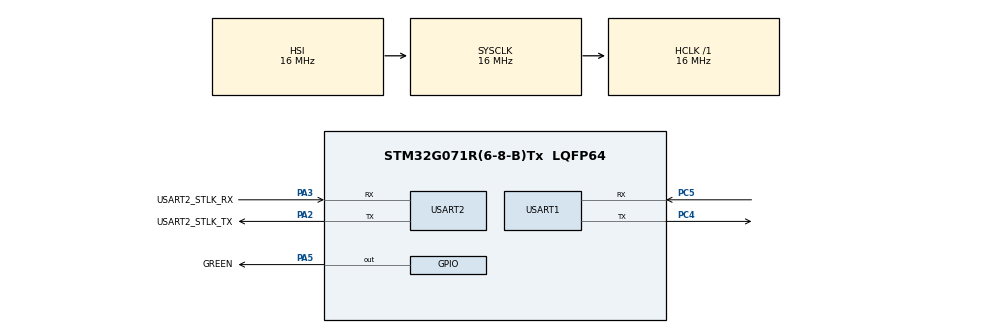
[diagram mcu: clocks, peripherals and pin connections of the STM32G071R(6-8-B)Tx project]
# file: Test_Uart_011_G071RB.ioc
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Dma.Request0=USART2_RX
Dma.Request1=USART1_RX
Dma.USART1_RX.1.Direction=DMA_PERIPH_TO_MEMORY
Dma.USART1_RX.1.EventEnable=DISABLE
Dma.USART1_RX.1.Instance=DMA1_Channel2
Dma.USART1_RX.1.MemDataAlignment=DMA_MDATAALIGN_BYTE
Dma.USART1_RX.1.MemInc=DMA_MINC_ENABLE
Dma.USART1_RX.1.Mode=DMA_NORMAL
Dma.USART1_RX.1.PeriphDataAlignment=DMA_PDATAALIGN_BYTE
Dma.USART1_RX.1.PeriphInc=DMA_PINC_DISABLE
Dma.USART1_RX.1.Polarity=HAL_DMAMUX_REQ_GEN_RISING
Dma.USART1_RX.1.Priority=DMA_PRIORITY_LOW
Dma.USART1_RX.1.RequestNumber=1
Dma.USART1_RX.1.SignalID=NONE
Dma.USART1_RX.1.SyncEnable=DISABLE
Dma.USART1_RX.1.SyncPolarity=HAL_DMAMUX_SYNC_NO_EVENT
Dma.USART1_RX.1.SyncRequestNumber=1
Dma.USART1_RX.1.SyncSignalID=NONE
Dma.USART2_RX.0.Direction=DMA_PERIPH_TO_MEMORY
Dma.USART2_RX.0.EventEnable=DISABLE
Dma.USART2_RX.0.Instance=DMA1_Channel1
Dma.USART2_RX.0.MemDataAlignment=DMA_MDATAALIGN_BYTE
Dma.USART2_RX.0.MemInc=DMA_MINC_ENABLE
Dma.USART2_RX.0.Mode=DMA_NORMAL
Dma.USART2_RX.0.PeriphDataAlignment=DMA_PDATAALIGN_BYTE
Dma.USART2_RX.0.PeriphInc=DMA_PINC_DISABLE
Dma.USART2_RX.0.Polarity=HAL_DMAMUX_REQ_GEN_RISING
Dma.USART2_RX.0.Priority=DMA_PRIORITY_LOW
Dma.USART2_RX.0.RequestNumber=1
Dma.USART2_RX.0.SignalID=NONE
Dma.USART2_RX.0.SyncEnable=DISABLE
Dma.USART2_RX.0.SyncPolarity=HAL_DMAMUX_SYNC_NO_EVENT
Dma.USART2_RX.0.SyncRequestNumber=1
Dma.USART2_RX.0.SyncSignalID=NONE
Mcu.Family=STM32G0
Mcu.Name=STM32G071R(6-8-B)Tx
Mcu.Package=LQFP64
NVIC.DMA1_Channel1_IRQn=true\:0\:0\:false\:false\:true\:false\:true\:true
NVIC.DMA1_Channel2_3_IRQn=true\:0\:0\:false\:false\:true\:false\:true\:true
NVIC.RTC_TAMP_IRQn=true\:0\:0\:false\:false\:true\:true\:true\:true
NVIC.USART1_IRQn=true\:0\:0\:false\:false\:true\:true\:true\:true
NVIC.USART2_IRQn=true\:0\:0\:false\:false\:true\:true\:true\:true
PA13.GPIO_Label=TMS
PA13.Mode=Serial_Wire
PA13.Signal=SYS_SWDIO
PA14-BOOT0.GPIO_Label=TCK
PA14-BOOT0.Mode=Serial_Wire
PA14-BOOT0.Signal=SYS_SWCLK
PA2.GPIO_Label=USART2_STLK_TX
PA2.GPIO_PuPd=GPIO_PULLUP
PA2.Mode=Asynchronous
PA2.Signal=USART2_TX
PA3.GPIO_Label=USART2_STLK_RX
PA3.GPIO_PuPd=GPIO_PULLUP
PA3.Mode=Asynchronous
PA3.Signal=USART2_RX
PA5.GPIO_Label=GREEN
PA5.GPIO_Speed=GPIO_SPEED_FREQ_HIGH
PA5.Signal=GPIO_Output
PC14-OSC32_IN\ (PC14).Mode=LSE-External-Oscillator
PC14-OSC32_IN\ (PC14).Signal=RCC_OSC32_IN
PC15-OSC32_OUT\ (PC15).Mode=LSE-External-Oscillator
PC15-OSC32_OUT\ (PC15).Signal=RCC_OSC32_OUT
PC4.Mode=Asynchronous
PC4.Signal=USART1_TX
PC5.Mode=Asynchronous
PC5.Signal=USART1_RX
PF0-OSC_IN\ (PF0).GPIO_Label=MCO
PF0-OSC_IN\ (PF0).Mode=HSE-External-Clock-Source
PF0-OSC_IN\ (PF0).Signal=RCC_OSC_IN
ProjectManager.HeapSize=0x200
ProjectManager.StackSize=0x400
ProjectManager.TargetToolchain=STM32CubeIDE
RCC.AHBFreq_Value=16000000
RCC.CortexFreq_Value=16000000
RCC.EXTERNAL_CLOCK_VALUE=12288000
RCC.HCLKFreq_Value=16000000
RCC.HSE_VALUE=8000000
RCC.HSI_VALUE=16000000
RCC.RTCClockSelection=RCC_RTCCLKSOURCE_LSE
RCC.SYSCLKFreq_VALUE=16000000
RCC.VCOOutputFreq_Value=128000000
RTC.WakeUpClock-WakeUp=RTC_WAKEUPCLOCK_CK_SPRE_16BITS
RTC.WakeUpCounter-WakeUp=10
USART1.VirtualMode-Asynchronous=VM_ASYNC
USART2.VirtualMode-Asynchronous=VM_ASYNC
VP_RTC_VS_RTC_Activate.Mode=RTC_Enabled
VP_RTC_VS_RTC_WakeUp_intern.Mode=WakeUp
board=NUCLEO-G071RB

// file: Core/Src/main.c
/* USER CODE BEGIN Header */
/**
  ******************************************************************************
  * @file           : main.c
  * @brief          : Main program body
  ******************************************************************************
  * @attention
  *
  * Copyright (c) 2022 STMicroelectronics.
  * All rights reserved.
  *
  * This software is licensed under terms that can be found in the LICENSE file
  * in the root directory of this software component.
  * If no LICENSE file comes with this software, it is provided AS-IS.
  *
  ******************************************************************************
  */
/* USER CODE END Header */
#include "main.h"

/* USER CODE BEGIN Includes */
#include <stdlib.h>
#include <stdio.h>
#include <string.h>
/* USER CODE END Includes */

/* USER CODE BEGIN PD */
#define HUART						&huart2
#define UART_TX_TIMEOUT				100
#define UART_RX_TIMEOUT				1000
#define UART_RX_MAX_BUFF_SIZE		50
#define UART_TX_MAX_BUFF_SIZE		50
/* USER CODE END PD */

RTC_HandleTypeDef hrtc;

UART_HandleTypeDef huart1;
UART_HandleTypeDef huart2;
DMA_HandleTypeDef hdma_usart1_rx;
DMA_HandleTypeDef hdma_usart2_rx;

/* USER CODE BEGIN PV */
uint8_t i = 48 ; // "ASCII char = 0"
const char* request = "request" ;
const char* expected_answer = "answer" ;
char uart_rx_buff[UART_RX_MAX_BUFF_SIZE] ;
char uart_tx_buff[UART_TX_MAX_BUFF_SIZE] ;
/* USER CODE END PV */

void SystemClock_Config(void);
static void MX_GPIO_Init(void);
static void MX_DMA_Init(void);
static void MX_USART2_UART_Init(void);
static void MX_USART1_UART_Init(void);
static void MX_RTC_Init(void);

int main(void)
{

  /* MCU Configuration--------------------------------------------------------*/

  /* Reset of all peripherals, Initializes the Flash interface and the Systick. */
  HAL_Init();

  /* Configure the system clock */
  SystemClock_Config();

  /* Initialize all configured peripherals */
  MX_GPIO_Init();
  MX_DMA_Init();
  MX_USART2_UART_Init();
  MX_USART1_UART_Init();
  MX_RTC_Init();
  /* USER CODE BEGIN 2 */
  HAL_UARTEx_ReceiveToIdle_DMA ( &huart2 , (uint8_t*) uart_rx_buff , sizeof ( uart_rx_buff ) ) ;
  /* USER CODE END 2 */

  /* Infinite loop */
  /* USER CODE BEGIN WHILE */
  while (1)
  {
	  for ( i = 0 ; i < 256 ; i++ )
	  {
		  sprintf ( uart_tx_buff , "%s%d" , request , i ) ;
		  HAL_UART_Transmit ( &huart2 , (uint8_t *) uart_tx_buff ,  strlen ( uart_tx_buff ) , UART_TX_TIMEOUT ) ;
		  //Z tym co poniżej działało doskonale
		  //HAL_UART_Receive ( &huart2 , (uint8_t *) uart_rx_buff , UART_RX_MAX_BUFF_SIZE , UART_RX_TIMEOUT ) ;
		  if ( strncmp ( uart_rx_buff , expected_answer , strlen ( expected_answer ) ) == 0 )
			  HAL_UART_Transmit ( &huart2 , (uint8_t *) uart_rx_buff , strlen ( uart_rx_buff ) , UART_TX_TIMEOUT ) ;
		  HAL_Delay ( 3000 ) ;
	  }
	  if ( i == 255 )
		  i = 0 ;
	  //uart_rx_buff[0] = 0 ;
	  //HAL_PWREx_EnterSHUTDOWNMode () ;
	  //HAL_PWREx_EnterSTOP2Mode ( PWR_STOPENTRY_WFI ) ;
	  //HAL_PWR_EnterSTANDBYMode () ;
	  //HAL_PWR_EnterSTOPMode ( PWR_LOWPOWERREGULATOR_ON , PWR_STOPENTRY_WFI ) ;
	  //HAL_PWR_EnterSTOPMode ( PWR_MAINREGULATOR_ON , PWR_STOPENTRY_WFI ) ;

    /* USER CODE END WHILE */

  }
}

void SystemClock_Config(void)
{
  RCC_OscInitTypeDef RCC_OscInitStruct = {0};
  RCC_ClkInitTypeDef RCC_ClkInitStruct = {0};

  /** Configure the main internal regulator output voltage
  */
  HAL_PWREx_ControlVoltageScaling(PWR_REGULATOR_VOLTAGE_SCALE1);

  /** Configure LSE Drive Capability
  */
  HAL_PWR_EnableBkUpAccess();
  __HAL_RCC_LSEDRIVE_CONFIG(RCC_LSEDRIVE_LOW);

  /** Initializes the RCC Oscillators according to the specified parameters
  * in the RCC_OscInitTypeDef structure.
  */
  RCC_OscInitStruct.OscillatorType = RCC_OSCILLATORTYPE_HSI|RCC_OSCILLATORTYPE_LSE;
  RCC_OscInitStruct.LSEState = RCC_LSE_ON;
  RCC_OscInitStruct.HSIState = RCC_HSI_ON;
  RCC_OscInitStruct.HSIDiv = RCC_HSI_DIV1;
  RCC_OscInitStruct.HSICalibrationValue = RCC_HSICALIBRATION_DEFAULT;
  RCC_OscInitStruct.PLL.PLLState = RCC_PLL_NONE;
  if (HAL_RCC_OscConfig(&RCC_OscInitStruct) != HAL_OK)
  {
    Error_Handler();
  }

  /** Initializes the CPU, AHB and APB buses clocks
  */
  RCC_ClkInitStruct.ClockType = RCC_CLOCKTYPE_HCLK|RCC_CLOCKTYPE_SYSCLK
                              |RCC_CLOCKTYPE_PCLK1;
  RCC_ClkInitStruct.SYSCLKSource = RCC_SYSCLKSOURCE_HSI;
  RCC_ClkInitStruct.AHBCLKDivider = RCC_SYSCLK_DIV1;
  RCC_ClkInitStruct.APB1CLKDivider = RCC_HCLK_DIV1;

  if (HAL_RCC_ClockConfig(&RCC_ClkInitStruct, FLASH_LATENCY_0) != HAL_OK)
  {
    Error_Handler();
  }
}

static void MX_RTC_Init(void)
{

  /** Initialize RTC Only
  */
  hrtc.Instance = RTC;
  hrtc.Init.HourFormat = RTC_HOURFORMAT_24;
  hrtc.Init.AsynchPrediv = 127;
  hrtc.Init.SynchPrediv = 255;
  hrtc.Init.OutPut = RTC_OUTPUT_DISABLE;
  hrtc.Init.OutPutRemap = RTC_OUTPUT_REMAP_NONE;
  hrtc.Init.OutPutPolarity = RTC_OUTPUT_POLARITY_HIGH;
  hrtc.Init.OutPutType = RTC_OUTPUT_TYPE_OPENDRAIN;
  hrtc.Init.OutPutPullUp = RTC_OUTPUT_PULLUP_NONE;
  if (HAL_RTC_Init(&hrtc) != HAL_OK)
  {
    Error_Handler();
  }

  /** Enable the WakeUp
  */
  if (HAL_RTCEx_SetWakeUpTimer_IT(&hrtc, 10, RTC_WAKEUPCLOCK_CK_SPRE_16BITS) != HAL_OK)
  {
    Error_Handler();
  }

}

static void MX_USART1_UART_Init(void)
{

  huart1.Instance = USART1;
  huart1.Init.BaudRate = 115200;
  huart1.Init.WordLength = UART_WORDLENGTH_8B;
  huart1.Init.StopBits = UART_STOPBITS_1;
  huart1.Init.Parity = UART_PARITY_NONE;
  huart1.Init.Mode = UART_MODE_TX_RX;
  huart1.Init.HwFlowCtl = UART_HWCONTROL_NONE;
  huart1.Init.OverSampling = UART_OVERSAMPLING_16;
  huart1.Init.OneBitSampling = UART_ONE_BIT_SAMPLE_DISABLE;
  huart1.Init.ClockPrescaler = UART_PRESCALER_DIV1;
  huart1.AdvancedInit.AdvFeatureInit = UART_ADVFEATURE_NO_INIT;
  if (HAL_UART_Init(&huart1) != HAL_OK)
  {
    Error_Handler();
  }
  if (HAL_UARTEx_SetTxFifoThreshold(&huart1, UART_TXFIFO_THRESHOLD_1_8) != HAL_OK)
  {
    Error_Handler();
  }
  if (HAL_UARTEx_SetRxFifoThreshold(&huart1, UART_RXFIFO_THRESHOLD_1_8) != HAL_OK)
  {
    Error_Handler();
  }
  if (HAL_UARTEx_DisableFifoMode(&huart1) != HAL_OK)
  {
    Error_Handler();
  }

}

static void MX_USART2_UART_Init(void)
{

  huart2.Instance = USART2;
  huart2.Init.BaudRate = 115200;
  huart2.Init.WordLength = UART_WORDLENGTH_8B;
  huart2.Init.StopBits = UART_STOPBITS_1;
  huart2.Init.Parity = UART_PARITY_NONE;
  huart2.Init.Mode = UART_MODE_TX_RX;
  huart2.Init.HwFlowCtl = UART_HWCONTROL_NONE;
  huart2.Init.OverSampling = UART_OVERSAMPLING_16;
  huart2.Init.OneBitSampling = UART_ONE_BIT_SAMPLE_DISABLE;
  huart2.Init.ClockPrescaler = UART_PRESCALER_DIV1;
  huart2.AdvancedInit.AdvFeatureInit = UART_ADVFEATURE_NO_INIT;
  if (HAL_UART_Init(&huart2) != HAL_OK)
  {
    Error_Handler();
  }
  if (HAL_UARTEx_SetTxFifoThreshold(&huart2, UART_TXFIFO_THRESHOLD_1_8) != HAL_OK)
  {
    Error_Handler();
  }
  if (HAL_UARTEx_SetRxFifoThreshold(&huart2, UART_RXFIFO_THRESHOLD_1_8) != HAL_OK)
  {
    Error_Handler();
  }
  if (HAL_UARTEx_DisableFifoMode(&huart2) != HAL_OK)
  {
    Error_Handler();
  }

}

static void MX_DMA_Init(void)
{

  /* DMA controller clock enable */
  __HAL_RCC_DMA1_CLK_ENABLE();

  /* DMA interrupt init */
  /* DMA1_Channel1_IRQn interrupt configuration */
  HAL_NVIC_SetPriority(DMA1_Channel1_IRQn, 0, 0);
  HAL_NVIC_EnableIRQ(DMA1_Channel1_IRQn);
  /* DMA1_Channel2_3_IRQn interrupt configuration */
  HAL_NVIC_SetPriority(DMA1_Channel2_3_IRQn, 0, 0);
  HAL_NVIC_EnableIRQ(DMA1_Channel2_3_IRQn);

}

static void MX_GPIO_Init(void)
{
  GPIO_InitTypeDef GPIO_InitStruct = {0};

  /* GPIO Ports Clock Enable */
  __HAL_RCC_GPIOC_CLK_ENABLE();
  __HAL_RCC_GPIOF_CLK_ENABLE();
  __HAL_RCC_GPIOA_CLK_ENABLE();

  /*Configure GPIO pin Output Level */
  HAL_GPIO_WritePin(GREEN_GPIO_Port, GREEN_Pin, GPIO_PIN_RESET);

  /*Configure GPIO pin : GREEN_Pin */
  GPIO_InitStruct.Pin = GREEN_Pin;
  GPIO_InitStruct.Mode = GPIO_MODE_OUTPUT_PP;
  GPIO_InitStruct.Pull = GPIO_NOPULL;
  GPIO_InitStruct.Speed = GPIO_SPEED_FREQ_HIGH;
  HAL_GPIO_Init(GREEN_GPIO_Port, &GPIO_InitStruct);

}

/* USER CODE BEGIN 4 */
void HAL_UARTEx_RxEventCallback ( UART_HandleTypeDef *huart , uint16_t Size )
{
	uint8_t i ;
	const char* z = 0 ;
    if ( huart->Instance == USART2 )
    {
    	if ( uart_rx_buff[0] != 0 ) // to avoid doublet because of 2 INTs
    	{
    		strcat ( (char *) uart_rx_buff , z ) ; // to avoid debris after '\n' of original message
    		HAL_UART_Transmit ( &huart2 , (uint8_t *) uart_rx_buff ,  strlen ( (char*) uart_rx_buff ) , UART_TX_TIMEOUT ) ;
    		for ( i = 0 ; i < UART_RX_MAX_BUFF_SIZE ; i++ )
    			uart_rx_buff[i] = 0 ;
    	}
    }
    HAL_UARTEx_ReceiveToIdle_DMA ( &huart2 , (uint8_t *) uart_rx_buff , sizeof ( uart_rx_buff ) ) ;
}
/* USER CODE END 4 */

void Error_Handler(void)
{
  __disable_irq();
  while (1)
  {
  }
}
